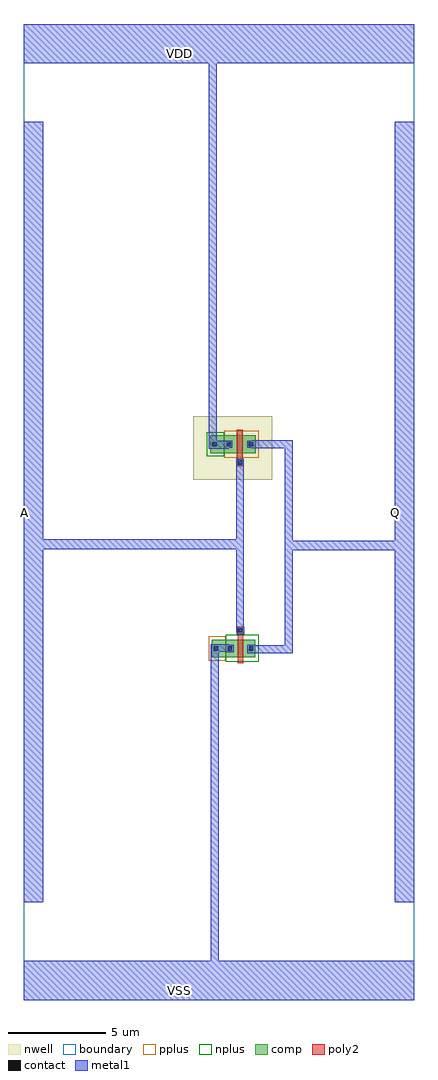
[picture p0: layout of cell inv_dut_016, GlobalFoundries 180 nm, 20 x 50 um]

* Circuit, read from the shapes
.subckt inv_dut_016 A Q VDD VSS
XM1 Q A VSS VSS nfet_03v3 w=0.9u l=0.3u
XM2 Q A VDD VDD pfet_03v3 w=0.9u l=0.3u
.ends

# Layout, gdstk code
from math import pi, radians
import gdstk
lib = gdstk.Library(unit=1e-6, precision=1e-09)
def R(c, l, rs):  # rectangles x0, y0, x1, y1
    for r in rs: c.add(gdstk.rectangle(r[:2], r[2:], *l))
def P(c, l, *ps):  # polygons
    for p in ps: c.add(gdstk.Polygon(p, *l))
boundary = (0, 0)
nwell = (21, 0)
comp = (22, 0)
poly2 = (30, 0)
pplus = (31, 0)
nplus = (32, 0)
contact = (33, 0)
metal1 = (34, 0)

nfet = lib.new_cell('nfet')
R(nfet, comp, [(-0.42,0,1.81,0.9)])
P(nfet, poly2, [(0.19,-0.3),(0.19,1.2),(0.16,1.2),(0.16,1.56),(0.52,1.56),(0.52,1.2),(0.49,1.2),(0.49,-0.3)])
R(nfet, pplus, [(1.1,-0.17,1.98,1.07)])
R(nfet, nplus, [(-0.59,-0.24,1.1,1.14)])
R(nfet, contact, [(-0.32,0.34,-0.1,0.56), (0.78,0.34,1,0.56), (1.49,0.34,1.71,0.56), (0.23,1.27,0.45,1.49)])
R(nfet, metal1, [(-0.4,0.26,-0.02,0.64), (0.7,0.26,1.08,0.64), (1.41,0.26,1.79,0.64), (0.15,1.19,0.53,1.57)])

pfet = lib.new_cell('pfet')
R(pfet, nwell, [(-1.32,-1.37,2.73,1.89)])
R(pfet, comp, [(-0.46,0,1.87,0.9)])
P(pfet, poly2, [(0.15,-0.68),(0.15,-0.3),(0.19,-0.3),(0.19,1.2),(0.49,1.2),(0.49,-0.3),(0.53,-0.3),(0.53,-0.68)])
R(pfet, pplus, [(-0.63,-0.24,1.14,1.14)])
R(pfet, nplus, [(1.14,-0.17,2.04,1.07)])
R(pfet, contact, [(0.23,-0.6,0.45,-0.38), (-0.34,0.34,-0.12,0.56), (0.8,0.34,1.02,0.56), (1.53,0.34,1.75,0.56)])
R(pfet, metal1, [(0.15,-0.68,0.53,-0.3), (-0.42,0.26,-0.04,0.64), (0.72,0.26,1.1,0.64), (1.45,0.26,1.83,0.64)])

inv_dut_016 = lib.new_cell('inv_dut_016')
R(inv_dut_016, boundary, [(-10,-25,10,25)])
R(inv_dut_016, metal1, [(-10,-25,10,-23), (-10,-20,-9,20), (9,-20,10,20), (-10,23,10,25)])
inv_dut_016.add(gdstk.FlexPath([(1.075,2.515),(1.075,-6.155)], 0.4, ends="flush", simple_path=True, layer=34, datatype=0))  # metal1
inv_dut_016.add(gdstk.FlexPath([(1.065,-1.655),(-1.325,-1.655),(-3.41,-1.655),(-9.36,-1.655)], 0.5, ends="flush", simple_path=True, layer=34, datatype=0))  # metal1
inv_dut_016.add(gdstk.FlexPath([(0.515,-6.965),(-0.225,-6.965),(-0.225,-23.775)], 0.4, ends="flush", simple_path=True, layer=34, datatype=0))  # metal1
inv_dut_016.add(gdstk.FlexPath([(0.495,3.45),(-0.315,3.45),(-0.315,6.165),(-0.315,6.44),(-0.315,23.265)], 0.4, ends="flush", simple_path=True, layer=34, datatype=0))  # metal1
inv_dut_016.add(gdstk.FlexPath([(1.69,3.475),(3.57,3.475),(3.57,-7.03),(1.46,-7.03)], 0.4, ends="flush", simple_path=True, layer=34, datatype=0))  # metal1
inv_dut_016.add(gdstk.FlexPath([(3.605,-1.715),(9.565,-1.715)], 0.5, ends="flush", simple_path=True, layer=34, datatype=0))  # metal1
inv_dut_016.add(gdstk.Reference(nfet, (1.445,-7.44), rotation=pi, x_reflection=True))
inv_dut_016.add(gdstk.Reference(pfet, (1.41,3.02), rotation=pi, x_reflection=True))
inv_dut_016.add(gdstk.Label('VDD', (-2,23.5), layer=34, texttype=10))
inv_dut_016.add(gdstk.Label('VSS', (-2,-24.5), layer=34, texttype=10))
inv_dut_016.add(gdstk.Label('A', (-9.97,0), layer=34, texttype=10))
inv_dut_016.add(gdstk.Label('Q', (9.03,0), layer=34, texttype=10))

lib.write_gds('inv_dut_016.gds')
